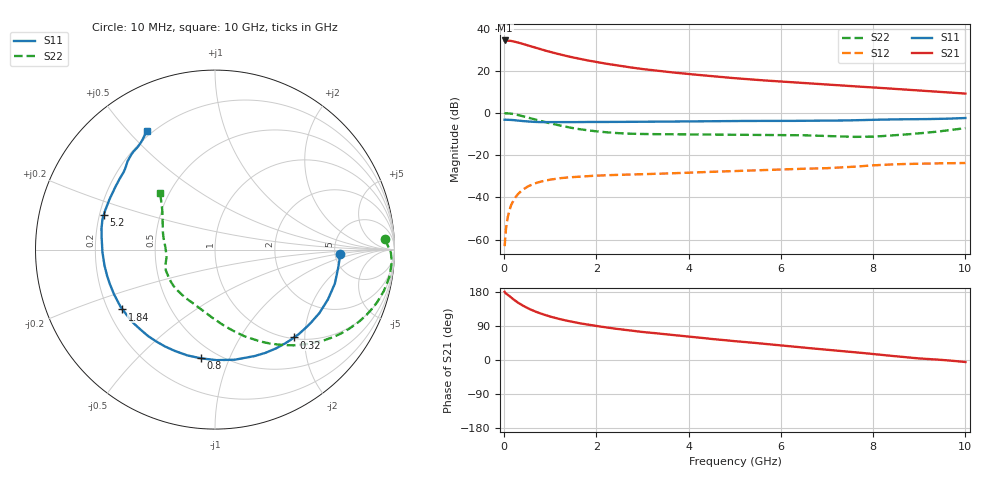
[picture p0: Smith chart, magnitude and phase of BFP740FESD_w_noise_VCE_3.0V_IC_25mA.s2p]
! Infineon Technologies  Discrete & RF Semiconductors
! BFP740FESD
! VCE =  3.0 V,  IC =  25 mA
! Common Emitter S-Parameters:  Jan 2016
# GHz  S  MA  R  50
!  f  S11  S21  S12  S22
! GHz  MAG  ANG  MAG  ANG  MAG  ANG  MAG  ANG
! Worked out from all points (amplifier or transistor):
!   233 points, 10 MHz to 10 GHz, reference 50 ohm
!   highest |S21| = 34.4 dB at 20 MHz (marker M1)
!   |S21| within 3 dB of that: start of sweep to 608.4 MHz
!   unconditionally stable (mu >= 1): 5.423 GHz to end of sweep
!   at 200 MHz: K = 0.10, MSG = 37.8 dB, |S12| = -41.6 dB
!   at 1.74 GHz: K = 0.50, MSG = 27.6 dB, |S12| = -30.0 dB
!   at 10 GHz: K = 1.16, MAG = 14.0 dB, |S12| = -23.7 dB
!   lowest NFmin = 0.89 dB at 450 MHz
!   S11 on the Smith chart (normalised r, x): 10 MHz: 5.50, -0.51; 320 MHz: 1.03, -1.77; 800 MHz: 0.41, -0.79; 1.84 GHz: 0.26, -0.28; 5.2 GHz: 0.22, +0.14; 10 GHz: 0.18, +0.56
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0.01  0.6945 -2.0  52.44 179.9  0.0007 124.7  0.9496 3.4
0.02  0.6979 -3.1  52.52 177.6  0.001 91.3  0.9802 -1.0
0.1  0.6941 -15.9  52.06 170.0  0.0043 82.1  0.9833 -9.0
0.15  0.6877 -23.9  51.19 164.9  0.0065 78.8  0.9685 -13.8
0.24  0.6723 -37.0  48.7 156.5  0.0099 72.9  0.9297 -21.5
0.32  0.6586 -48.0  46.28 149.9  0.0126 68.1  0.888 -27.8
0.4  0.6472 -58.2  43.66 143.9  0.0151 64.0  0.8446 -33.5
0.5  0.6327 -69.7  40.43 137.3  0.0178 59.4  0.79 -39.8
0.6  0.6232 -79.8  37.42 131.6  0.0201 55.3  0.7378 -45.4
0.8  0.6108 -97.2  32.21 122.2  0.0238 48.9  0.6466 -55.2
1  0.6072 -111.4  28.06 114.6  0.0264 43.8  0.5701 -63.8
1.2  0.6075 -122.8  24.69 108.1  0.0285 39.9  0.5084 -71.4
1.4  0.6089 -132.1  21.89 102.6  0.0299 36.9  0.4585 -78.1
1.68  0.612 -142.4  18.88 96.1  0.0314 33.9  0.408 -86.4
1.84  0.6138 -147.1  17.43 92.8  0.0322 32.7  0.3863 -90.7
2.58  0.6183 -164.8  12.8 79.9  0.0345 29.3  0.3292 -108.3
3.4  0.6255 -177.3  9.813 69.2  0.0366 28.9  0.3155 -120.9
5.1  0.6495 163.8  6.569 48.7  0.0426 29.4  0.3065 -139.5
5.2  0.6492 162.9  6.441 47.7  0.0429 29.4  0.3058 -140.4
6.8  0.6584 145.5  4.883 29.3  0.0488 29.3  0.2904 -161.3
8.4  0.7058 131.3  3.781 10.9  0.0605 27.7  0.2944 167.1
10  0.7628 119.9  2.891 -5.2  0.0655 20.2  0.4392 134.3
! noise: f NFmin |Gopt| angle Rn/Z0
0.45  0.89  0.09  -166  0.08
2.4  0.91  0.13  -166  0.09
5.5  1.07  0.18  -165  0.08
10  1.57  0.39  -118  0.19
